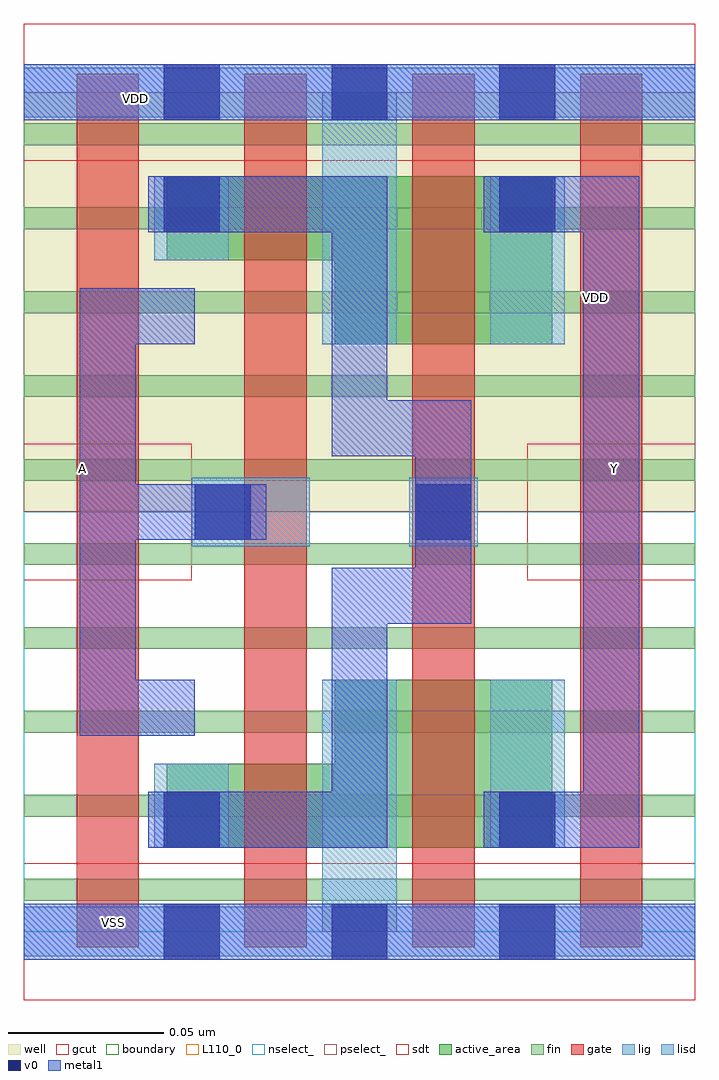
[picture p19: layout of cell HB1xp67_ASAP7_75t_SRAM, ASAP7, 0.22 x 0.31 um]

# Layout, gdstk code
import gdstk
lib = gdstk.Library(unit=1e-6, precision=1e-09)
def R(c, l, rs):  # rectangles x0, y0, x1, y1
    for r in rs: c.add(gdstk.rectangle(r[:2], r[2:], *l))
def A(c, l, x, y, w, h, nx, ny, dx, dy):  # array of equal rectangles
    R(c, l, [(x+i*dx, y+j*dy, x+i*dx+w, y+j*dy+h) for i in range(nx) for j in range(ny)])
def P(c, l, *ps):  # polygons
    for p in ps: c.add(gdstk.Polygon(p, *l))
well = (1, 0)
fin = (2, 0)
gate = (7, 0)
gcut = (10, 0)
active_area = (11, 0)
nselect_ = (12, 0)
pselect_ = (13, 0)
lig = (16, 0)
lisd = (17, 0)
v0 = (18, 0)
metal1 = (19, 0)
sdt = (88, 0)
boundary = (100, 0)
L110_0 = (110, 0)

hb1xp67_asap7_75t_sram = lib.new_cell('HB1xp67_ASAP7_75t_SRAM')
R(hb1xp67_asap7_75t_sram, well, [(0,0.135,0.216,0.27)])
A(hb1xp67_asap7_75t_sram, fin, 0, 0.01, 0.216, 0.007, 1, 10, 0, 0.027)
A(hb1xp67_asap7_75t_sram, gate, 0.017, -0.005, 0.02, 0.281, 4, 1, 0.054, 0)
R(hb1xp67_asap7_75t_sram, gcut, [(0,-0.022,0.216,0.022), (0,0.113,0.054,0.157), (0.162,0.113,0.216,0.157), (0,0.248,0.216,0.292)])
P(hb1xp67_asap7_75t_sram, active_area, [(0.17,0.081),(0.1,0.081),(0.1,0.054),(0.046,0.054),(0.046,0.027),(0.17,0.027)],
  [(0.17,0.243),(0.046,0.243),(0.046,0.216),(0.1,0.216),(0.1,0.189),(0.17,0.189)])
R(hb1xp67_asap7_75t_sram, nselect_, [(0,0,0.216,0.135)])
R(hb1xp67_asap7_75t_sram, pselect_, [(0,0.135,0.216,0.27)])
R(hb1xp67_asap7_75t_sram, lig, [(0,-0.008,0.216,0.008), (0.054,0.124,0.092,0.146), (0.124,0.124,0.146,0.146), (0,0.262,0.216,0.278)])
R(hb1xp67_asap7_75t_sram, lisd, [(0.096,0,0.12,0.081), (0.042,0.027,0.066,0.054), (0.15,0.027,0.174,0.081), (0.096,0.189,0.12,0.27), (0.15,0.189,0.174,0.243), (0.042,0.216,0.066,0.243)])
A(hb1xp67_asap7_75t_sram, v0, 0.045, -0.009, 0.018, 0.018, 3, 2, 0.054, 0.27)
R(hb1xp67_asap7_75t_sram, v0, [(0.045,0.027,0.063,0.045), (0.153,0.027,0.171,0.045), (0.055,0.126,0.073,0.144), (0.126,0.126,0.144,0.144), (0.045,0.225,0.063,0.243), (0.153,0.225,0.171,0.243)])
R(hb1xp67_asap7_75t_sram, metal1, [(0,-0.009,0.216,0.009), (0,0.261,0.216,0.279)])
P(hb1xp67_asap7_75t_sram, metal1, [(0.198,0.243),(0.148,0.243),(0.148,0.225),(0.18,0.225),(0.18,0.045),(0.148,0.045),(0.148,0.027),(0.198,0.027)],
  [(0.144,0.171),(0.117,0.171),(0.117,0.243),(0.04,0.243),(0.04,0.225),(0.099,0.225),(0.099,0.153),(0.126,0.153),(0.126,0.117),(0.099,0.117),(0.099,0.045),(0.04,0.045),(0.04,0.027),(0.117,0.027),(0.117,0.099),(0.144,0.099)],
  [(0.078,0.144),(0.036,0.144),(0.036,0.189),(0.055,0.189),(0.055,0.207),(0.018,0.207),(0.018,0.063),(0.055,0.063),(0.055,0.081),(0.036,0.081),(0.036,0.126),(0.078,0.126)])
R(hb1xp67_asap7_75t_sram, sdt, [(0.042,0.027,0.066,0.054), (0.096,0.027,0.12,0.081), (0.15,0.027,0.174,0.081), (0.096,0.189,0.12,0.243), (0.15,0.189,0.174,0.243), (0.042,0.216,0.066,0.243)])
R(hb1xp67_asap7_75t_sram, boundary, [(0,0,0.216,0.27)])
R(hb1xp67_asap7_75t_sram, L110_0, [(0,0,0.216,0.27)])
hb1xp67_asap7_75t_sram.add(gdstk.Label('VDD', (0.036,0.268), layer=19, texttype=251))
hb1xp67_asap7_75t_sram.add(gdstk.Label('VSS', (0.029,0.003), layer=19, texttype=251))
hb1xp67_asap7_75t_sram.add(gdstk.Label('A', (0.019,0.149), layer=19, texttype=251))
hb1xp67_asap7_75t_sram.add(gdstk.Label('Y', (0.19,0.149), layer=19, texttype=251))
hb1xp67_asap7_75t_sram.add(gdstk.Label('VDD', (0.184,0.204), layer=1, texttype=251))
hb1xp67_asap7_75t_sram.add(gdstk.Label('VSS', (0.253,0.203), layer=3, texttype=251))

lib.write_gds('HB1xp67_ASAP7_75t_SRAM.gds')
